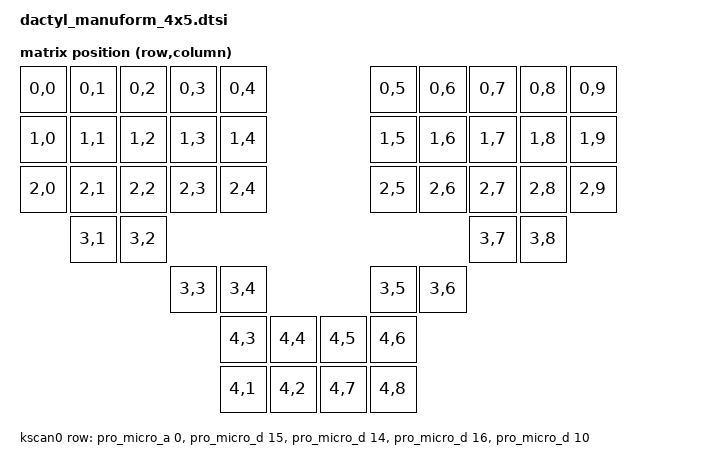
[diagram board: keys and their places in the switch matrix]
#include <dt-bindings/zmk/matrix_transform.h>

/ {
    chosen {
        zmk,kscan = &kscan0;
        zmk,matrix_transform = &default_transform;
    };

    default_transform: keymap_transform_0 {
        compatible = "zmk,matrix-transform";
        columns = <10>;
        rows = <5>;
// | SW5  | SW4  | SW3  | SW2  | SW1  |                 | SW1  | SW2  | SW3  | SW4  | SW5  |
// | SW10 | SW9  | SW8  | SW7  | SW6  |                 | SW6  | SW7  | SW8  | SW9  | SW10 |
// | SW15 | SW14 | SW13 | SW12 | SW11 |                 | SW11 | SW12 | SW13 | SW14 | SW15 |
//        | SW17 | SW16 |                                             | SW16 | SW17 |
//                      | SW19 | SW18 |                 | SW18 | SW19 |
//                             | SW21 | SW20 |   | SW20 | SW21 |
//                             | SW23 | SW22 |   | SW22 | SW23 |
        map = <
RC(0,0) RC(0,1) RC(0,2) RC(0,3) RC(0,4)                 RC(0,5) RC(0,6) RC(0,7) RC(0,8) RC(0,9)
RC(1,0) RC(1,1) RC(1,2) RC(1,3) RC(1,4)                 RC(1,5) RC(1,6) RC(1,7) RC(1,8) RC(1,9)
RC(2,0) RC(2,1) RC(2,2) RC(2,3) RC(2,4)                 RC(2,5) RC(2,6) RC(2,7) RC(2,8) RC(2,9)
        RC(3,1) RC(3,2)                                                 RC(3,7) RC(3,8)
                        RC(3,3) RC(3,4)                 RC(3,5) RC(3,6)
                                RC(4,3) RC(4,4) RC(4,5) RC(4,6)
                                RC(4,1) RC(4,2) RC(4,7) RC(4,8)

        >;
    };

    kscan0: kscan {
        compatible = "zmk,kscan-gpio-matrix";
        label = "KSCAN";

        diode-direction = "col2row";
        row-gpios
            = <&pro_micro_a 0  (GPIO_ACTIVE_HIGH | GPIO_PULL_DOWN)> // Row A from the schematic file
            , <&pro_micro_d 15 (GPIO_ACTIVE_HIGH | GPIO_PULL_DOWN)> // Row B from the schematic file
            , <&pro_micro_d 14 (GPIO_ACTIVE_HIGH | GPIO_PULL_DOWN)> // Row C from the schematic file
            , <&pro_micro_d 16 (GPIO_ACTIVE_HIGH | GPIO_PULL_DOWN)> // Row D from the schematic file
            , <&pro_micro_d 10 (GPIO_ACTIVE_HIGH | GPIO_PULL_DOWN)> // Row E from the schematic file
            ;

    };
};
